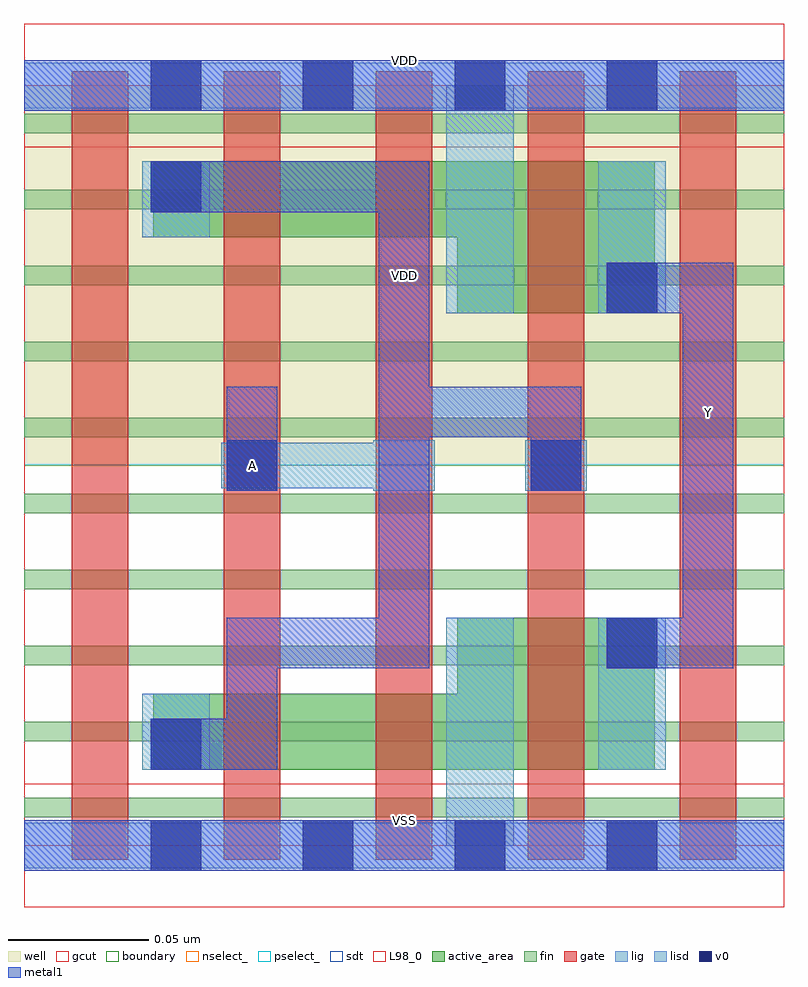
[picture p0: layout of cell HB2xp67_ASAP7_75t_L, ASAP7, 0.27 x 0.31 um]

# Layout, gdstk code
import gdstk
lib = gdstk.Library(unit=1e-6, precision=2.5e-10)
def R(c, l, rs):  # rectangles x0, y0, x1, y1
    for r in rs: c.add(gdstk.rectangle(r[:2], r[2:], *l))
def A(c, l, x, y, w, h, nx, ny, dx, dy):  # array of equal rectangles
    R(c, l, [(x+i*dx, y+j*dy, x+i*dx+w, y+j*dy+h) for i in range(nx) for j in range(ny)])
def P(c, l, *ps):  # polygons
    for p in ps: c.add(gdstk.Polygon(p, *l))
well = (1, 0)
fin = (2, 0)
gate = (7, 0)
gcut = (10, 0)
active_area = (11, 0)
nselect_ = (12, 0)
pselect_ = (13, 0)
lig = (16, 0)
lisd = (17, 0)
v0 = (18, 0)
metal1 = (19, 0)
sdt = (88, 0)
L98_0 = (98, 0)
boundary = (100, 0)

hb2xp67_asap7_75t_l = lib.new_cell('HB2xp67_ASAP7_75t_L')
R(hb2xp67_asap7_75t_l, well, [(0,0.135,0.27,0.27)])
A(hb2xp67_asap7_75t_l, fin, 0, 0.01, 0.27, 0.007, 1, 10, 0, 0.027)
A(hb2xp67_asap7_75t_l, gate, 0.017, -0.005, 0.02, 0.28, 5, 1, 0.054, 0)
R(hb2xp67_asap7_75t_l, gcut, [(0,-0.022,0.27,0.022), (0,0.248,0.27,0.292)])
P(hb2xp67_asap7_75t_l, active_area, [(0.224,0.081),(0.154,0.081),(0.154,0.054),(0.046,0.054),(0.046,0.027),(0.224,0.027)],
  [(0.046,0.216),(0.154,0.216),(0.154,0.189),(0.224,0.189),(0.224,0.243),(0.046,0.243)])
R(hb2xp67_asap7_75t_l, nselect_, [(0,0,0.27,0.135)])
R(hb2xp67_asap7_75t_l, pselect_, [(0,0.135,0.27,0.27)])
R(hb2xp67_asap7_75t_l, lig, [(0,-0.008,0.27,0.008), (0.124,0.126,0.146,0.144), (0.178,0.126,0.2,0.144), (0.07,0.127,0.146,0.143), (0,0.262,0.27,0.278)])
R(hb2xp67_asap7_75t_l, lisd, [(0.15,0,0.174,0.081), (0.15,0,0.174,0.081), (0.042,0.027,0.066,0.054), (0.204,0.027,0.228,0.081), (0.15,0.189,0.174,0.27), (0.15,0.189,0.174,0.27), (0.204,0.189,0.228,0.243), (0.042,0.216,0.066,0.243)])
A(hb2xp67_asap7_75t_l, v0, 0.045, -0.009, 0.018, 0.018, 4, 2, 0.054, 0.27)
R(hb2xp67_asap7_75t_l, v0, [(0.045,0.027,0.063,0.045), (0.207,0.063,0.225,0.081), (0.072,0.126,0.09,0.144), (0.18,0.126,0.198,0.144), (0.207,0.189,0.225,0.207), (0.045,0.225,0.063,0.243)])
R(hb2xp67_asap7_75t_l, metal1, [(0,-0.009,0.27,0.009), (0.045,0.027,0.063,0.045), (0.207,0.063,0.225,0.081), (0.072,0.126,0.09,0.144), (0.072,0.126,0.09,0.163), (0.18,0.126,0.198,0.144), (0.207,0.189,0.225,0.207), (0.045,0.225,0.063,0.243), (0,0.261,0.27,0.279)])
P(hb2xp67_asap7_75t_l, metal1, [(0.18,0.126),(0.198,0.126),(0.198,0.163),(0.144,0.163),(0.144,0.243),(0.045,0.243),(0.045,0.225),(0.126,0.225),(0.126,0.081),(0.072,0.081),(0.072,0.045),(0.045,0.045),(0.045,0.027),(0.09,0.027),(0.09,0.063),(0.144,0.063),(0.144,0.145),(0.18,0.145)],
  [(0.207,0.207),(0.207,0.189),(0.234,0.189),(0.234,0.081),(0.207,0.081),(0.207,0.063),(0.252,0.063),(0.252,0.207)])
R(hb2xp67_asap7_75t_l, sdt, [(0.042,0.027,0.066,0.054), (0.15,0.027,0.174,0.081), (0.15,0.027,0.174,0.081), (0.204,0.027,0.228,0.081), (0.15,0.189,0.174,0.243), (0.15,0.189,0.174,0.243), (0.204,0.189,0.228,0.243), (0.042,0.216,0.066,0.243)])
R(hb2xp67_asap7_75t_l, L98_0, [(0,0,0.27,0.27)])
R(hb2xp67_asap7_75t_l, boundary, [(0,0,0.27,0.27)])
hb2xp67_asap7_75t_l.add(gdstk.Label('VDD', (0.135,0.2025), layer=1, texttype=251))
hb2xp67_asap7_75t_l.add(gdstk.Label('VSS', (0.135,-0.0675), layer=3, texttype=251))
hb2xp67_asap7_75t_l.add(gdstk.Label('VSS', (0.135,0.009), layer=19, texttype=251))
hb2xp67_asap7_75t_l.add(gdstk.Label('VDD', (0.135,0.279), layer=19, texttype=251))
hb2xp67_asap7_75t_l.add(gdstk.Label('A', (0.081,0.135), layer=19, texttype=251))
hb2xp67_asap7_75t_l.add(gdstk.Label('Y', (0.243,0.154), layer=19, texttype=251))

lib.write_gds('HB2xp67_ASAP7_75t_L.gds')
